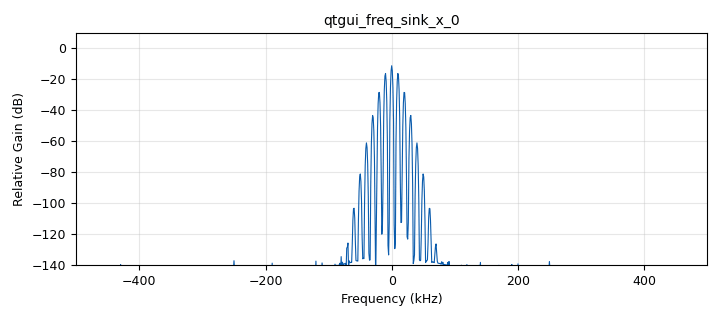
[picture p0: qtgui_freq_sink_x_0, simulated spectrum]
options:
  parameters:
    author: fran
    generate_options: qt_gui
    id: TP2a
    output_language: python
    title: Not titled yet
  states: {}

blocks:
- name: deltaf
  id: variable
  parameters:
    value: 10e3
  states: {}
- name: samp_rate
  id: variable
  parameters:
    value: 1e6
  states: {}
- name: analog_frequency_modulator_fc_0
  id: analog_frequency_modulator_fc
  parameters:
    sensitivity: 2*np.pi*deltaf/samp_rate
  states: {}
- name: analog_sig_source_x_0
  id: analog_sig_source_x
  parameters:
    amp: '1'
    freq: 10e3
    offset: '0'
    phase: '0'
    samp_rate: samp_rate
    type: float
    waveform: analog.GR_COS_WAVE
  states: {}
- name: blocks_throttle_1
  id: blocks_throttle
  parameters:
    samples_per_second: samp_rate
    type: float
  states: {}
- name: import_0
  id: import
  parameters:
    imports: import numpy as np
  states: {}
- name: qtgui_freq_sink_x_0
  id: qtgui_freq_sink_x
  parameters:
    bw: samp_rate
    fc: '0'
    fftsize: '1024'
    type: complex
    wintype: firdes.WIN_BLACKMAN_hARRIS
  states: {}

connections:
- [analog_frequency_modulator_fc_0, '0', qtgui_freq_sink_x_0, '0']
- [analog_sig_source_x_0, '0', blocks_throttle_1, '0']
- [blocks_throttle_1, '0', analog_frequency_modulator_fc_0, '0']

metadata:
  file_format: 1
